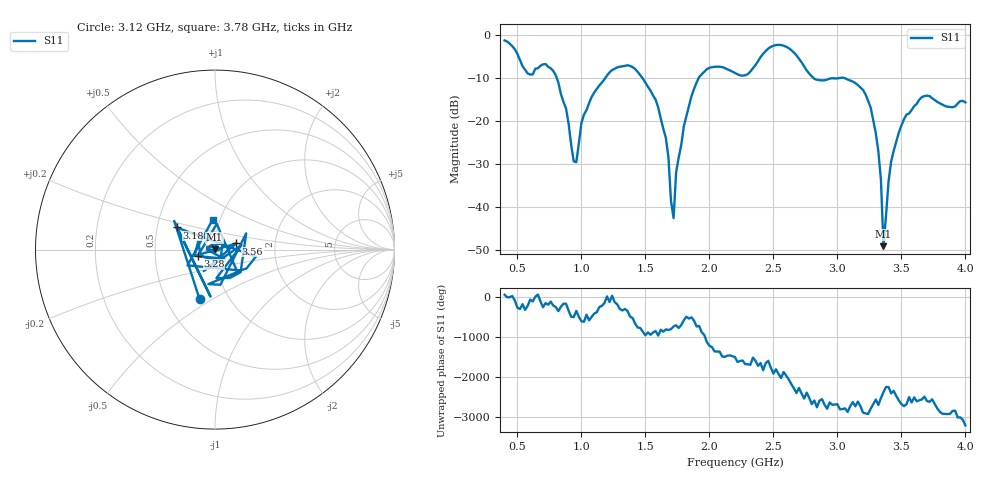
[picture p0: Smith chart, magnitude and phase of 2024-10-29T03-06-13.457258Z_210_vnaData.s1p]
!Created with skrf (http://scikit-rf.org).
# Hz S RI R 50.0
!freq ReS11 ImS11
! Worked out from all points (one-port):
!   181 points, 400 MHz to 4 GHz, reference 50 ohm
!   lowest |S11| = -49.1 dB at 3.36 GHz (marker M1), VSWR 1.01, Z = 49.7 + j0.214 ohm
!   |S11| at or under -10 dB: 807.9 MHz to 1.186 GHz (377.8 MHz wide, 37.9 % of centre); 1.478 GHz to 1.915 GHz (437.2 MHz wide, 25.8 % of centre); 3.059 GHz to end of sweep (the widest 3 of 5)
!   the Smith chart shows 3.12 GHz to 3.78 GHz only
!   S11 on the Smith chart (normalised r, x): 3.12 GHz: 0.73, -0.44; 3.18 GHz: 0.63, +0.17; 3.28 GHz: 0.82, -0.06; 3.56 GHz: 1.26, +0.09; 3.78 GHz: 0.92, +0.32
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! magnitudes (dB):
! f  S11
! 400 MHz  -1.2
! 580 MHz  -8.9
! 780 MHz  -8.3
! 860 MHz  -15.5
! 960 MHz  -29.6
! 1 GHz  -20.5
! 1.08 GHz  -14.4
! 1.3 GHz  -7.3
! 1.58 GHz  -15.0
! 1.66 GHz  -23.9
! 1.72 GHz  -42.6
! 1.74 GHz  -31.9
! 1.76 GHz  -28.5
! 1.92 GHz  -9.7
! 2.2 GHz  -8.8
! 2.5 GHz  -2.4
! 2.66 GHz  -4.0
! 2.82 GHz  -10.1
! 3.1 GHz  -10.6
! 3.12 GHz  -10.8
! 3.18 GHz  -12.2
! 3.28 GHz  -19.8
! 3.34 GHz  -33.6
! 3.36 GHz  -49.1
! 3.42 GHz  -29.4
! 3.56 GHz  -18.2
! 3.78 GHz  -15.5
! 4 GHz  -15.6
